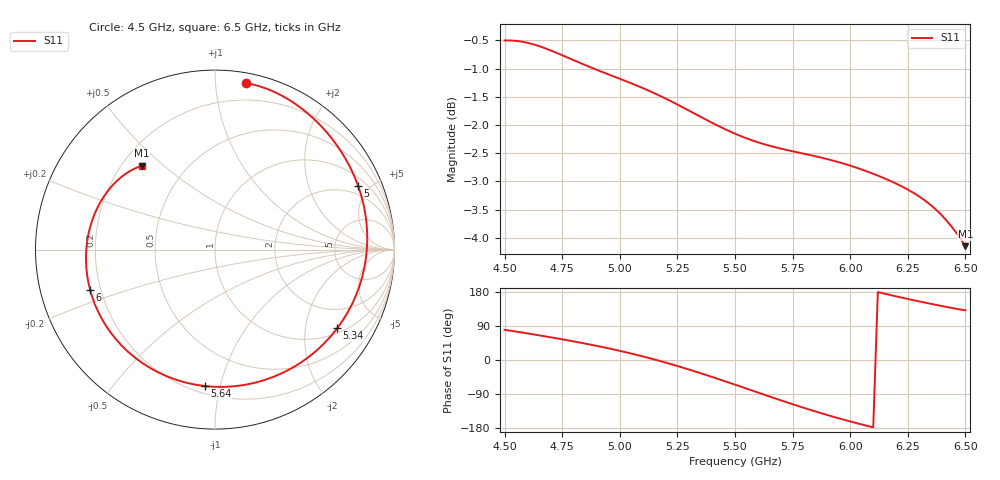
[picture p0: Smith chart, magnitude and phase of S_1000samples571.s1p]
! TOUCHSTONE file generated by CST MICROWAVE STUDIO
! Date and time: Fri Oct 28 15:36:34 2022
! Project name: L.cst
! Parameters = {Di=1.27; Epsilon_r=1.56; InnerDiameter=1.27; Length=2; Lf=10; Lg=60; OuterConductorThickness=0.2921; OuterDiameter=3.6; Wf=3; Wp=41.2; de=1.5; df=6.8; g=0.8; gx=4.14949; gy=1.13943; h=2.34; hf=1.524; px=10.7819; py=10.5466; w=9.7; wx=6.63241; wy=9.40714}
! Header version: 2018
! Port assignment regex: !\s*Touchstone port\s*([0-9]+)\s*=\s*(CST MWS port|CST DS port)\s*([0-9]+|Zmin|Zmax)\s*\(\"(.*)\"\)(\s*mode\s*([0-9]+))?.*
! Touchstone port assignment:
! Touchstone port 1 = CST MWS port 1 ("")
# GHz S DB R 50
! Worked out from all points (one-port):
!   101 points, 4.5 GHz to 6.5 GHz, reference 50 ohm
!   lowest |S11| = -4.1 dB at 6.5 GHz (marker M1), VSWR 4.27, Z = 14 + j21.2 ohm
!   |S11| at or under -10 dB: nowhere
!   S11 on the Smith chart (normalised r, x): 4.5 GHz: 0.07, +1.20; 5 GHz: 1.41, +4.23; 5.34 GHz: 1.17, -2.98; 5.64 GHz: 0.25, -0.90; 6 GHz: 0.16, -0.15; 6.5 GHz: 0.28, +0.42
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4.5  -0.50 79.6
4.62  -0.56 68.1
4.68  -0.65 62.0
4.76  -0.78 53.4
4.88  -0.99 39.7
5  -1.18 24.1
5.08  -1.31 12.5
5.14  -1.42 3.0
5.2  -1.53 -7.0
5.26  -1.66 -17.7
5.34  -1.83 -32.8
5.42  -2.00 -48.7
5.5  -2.15 -65.1
5.58  -2.28 -81.8
5.64  -2.36 -94.3
5.7  -2.42 -106.6
5.76  -2.47 -118.6
5.82  -2.53 -130.2
5.88  -2.58 -141.4
5.94  -2.65 -152.1
6  -2.72 -162.2
6.06  -2.80 -171.7
6.12  -2.90 179.3
6.18  -3.00 170.7
6.26  -3.17 159.8
6.38  -3.53 144.6
6.44  -3.80 137.5
6.5  -4.15 131.1
